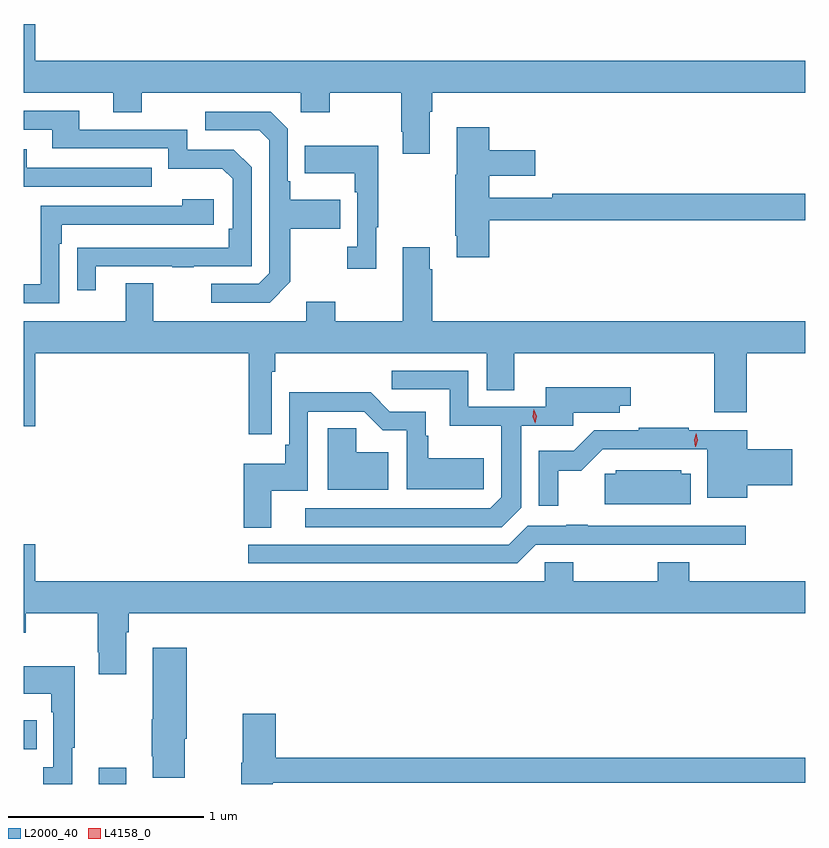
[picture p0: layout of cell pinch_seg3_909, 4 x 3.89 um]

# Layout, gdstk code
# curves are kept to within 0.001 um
import gdstk
lib = gdstk.Library(unit=1e-6, precision=1e-09)
def R(c, l, rs):  # rectangles x0, y0, x1, y1
    for r in rs: c.add(gdstk.rectangle(r[:2], r[2:], *l))
def P(c, l, *ps):  # polygons
    for p in ps: c.add(gdstk.Polygon(p, *l))
L2000_40 = (2000, 40)
L4158_0 = (4158, 0)

pinch_seg3_909 = lib.new_cell('pinch_seg3_909')
R(pinch_seg3_909, L2000_40, [(776.885,672.071,777.025,672.154), (776.5,672.25,776.567,672.397)])
P(pinch_seg3_909, L2000_40, [(778.579,675.512),(778.592,675.512),(778.592,675.608),(780.5,675.608),(780.5,675.772),(776.56,675.772),(776.56,675.961),(776.5,675.961),(776.5,675.608),(776.957,675.608),(776.957,675.509),(777.105,675.509),(777.105,675.608),(777.918,675.608),(777.918,675.509),(778.065,675.509),(778.065,675.608),(778.432,675.608),(778.432,675.409),(778.439,675.409),(778.439,675.297),(778.579,675.297)],
  [(776.869,674.721),(777.259,674.721),(777.259,674.716),(777.371,674.716),(777.371,674.721),(777.666,674.721),(777.666,675.228),(777.576,675.318),(777.336,675.318),(777.336,675.42),(776.785,675.42),(776.785,675.516),(776.5,675.516),(776.5,675.42),(776.645,675.42),(776.645,675.324),(777.24,675.324),(777.24,675.221),(777.517,675.221),(777.57,675.168),(777.57,674.914),(777.55,674.914),(777.55,674.817),(776.773,674.816),(776.773,674.598),(776.869,674.598)],
  [(777.865,674.641),(777.865,674.914),(778.121,674.914),(778.121,675.061),(777.865,675.061),(777.865,675.157),(777.852,675.157),(777.852,675.426),(777.765,675.513),(777.429,675.513),(777.429,675.417),(777.705,675.417),(777.756,675.366),(777.756,674.685),(777.702,674.631),(777.459,674.631),(777.459,674.535),(777.759,674.535)],
  [(778.883,674.956),(780.5,674.956),(780.5,675.092),(779.206,675.092),(779.206,675.072),(778.883,675.072),(778.883,675.185),(779.119,675.185),(779.119,675.315),(778.883,675.315),(778.883,675.433),(778.715,675.433),(778.715,675.189),(778.708,675.189),(778.708,674.878),(778.715,674.878),(778.715,674.766),(778.883,674.766)],
  [(778.303,674.921),(778.315,674.921),(778.315,675.337),(777.937,675.337),(777.937,675.197),(778.194,675.197),(778.194,675.101),(778.206,675.101),(778.206,674.822),(778.155,674.822),(778.155,674.709),(778.303,674.709)],
  [(777.155,675.225),(776.515,675.225),(776.515,675.319),(776.5,675.319),(776.5,675.129),(777.155,675.129)],
  [(776.682,674.837),(776.695,674.837),(776.695,674.934),(777.472,674.934),(777.472,675.064),(777.311,675.064),(777.311,675.03),(776.586,675.03),(776.586,674.628),(776.5,674.628),(776.5,674.532),(776.682,674.532)],
  [(777.769,674.18),(777.787,674.18),(777.787,674.276),(778.871,674.276),(778.871,674.086),(779.011,674.086),(779.011,674.276),(780.035,674.276),(780.035,673.974),(780.2,673.974),(780.2,674.276),(780.5,674.276),(780.5,674.44),(778.592,674.44),(778.592,674.705),(778.579,674.705),(778.579,674.818),(778.439,674.818),(778.439,674.44),(778.095,674.44),(778.095,674.539),(777.947,674.539),(777.947,674.44),(777.163,674.44),(777.163,674.635),(777.023,674.635),(777.023,674.44),(776.5,674.44),(776.5,673.902),(776.56,673.902),(776.56,674.276),(777.651,674.276),(777.651,673.86),(777.769,673.86)],
  [(779.047,673.486),(779.047,673.905),(779.313,673.905),(779.313,673.97),(779.551,673.97),(779.551,674.007),(779.608,674.007),(779.608,674.103),(779.171,674.103),(779.171,674.001),(778.776,674.001),(778.776,674.187),(778.383,674.187),(778.383,674.092),(778.68,674.092),(778.68,673.904),(778.944,673.904),(778.944,673.539),(778.887,673.482),(777.942,673.482),(777.942,673.386),(778.947,673.386)],
  [(777.766,673.571),(777.954,673.571),(777.954,673.977),(778.242,673.977),(778.338,673.881),(778.461,673.881),(778.461,673.58),(778.854,673.58),(778.854,673.738),(778.57,673.738),(778.57,673.854),(778.557,673.854),(778.557,673.977),(778.374,673.977),(778.277,674.075),(777.858,674.075),(777.858,673.807),(777.838,673.807),(777.838,673.711),(777.626,673.711),(777.626,673.383),(777.766,673.383)],
  [(779.235,673.675),(779.353,673.675),(779.463,673.785),(779.999,673.785),(779.999,673.535),(780.202,673.535),(780.202,673.601),(780.433,673.601),(780.433,673.784),(780.202,673.784),(780.202,673.881),(779.903,673.881),(779.903,673.894),(779.647,673.894),(779.647,673.881),(779.421,673.881),(779.316,673.776),(779.136,673.776),(779.136,673.494),(779.235,673.494)],
  [(778.366,673.768),(778.202,673.768),(778.202,673.891),(778.055,673.891),(778.055,673.577),(778.366,673.577)],
  [(779.914,673.66),(779.865,673.66),(779.865,673.678),(779.529,673.678),(779.529,673.659),(779.475,673.659),(779.475,673.502),(779.914,673.502)],
  [(779.121,673.296),(780.196,673.296),(780.196,673.392),(779.387,673.392),(779.387,673.397),(779.276,673.397),(779.276,673.392),(779.079,673.392),(778.983,673.296),(777.648,673.296),(777.648,673.2),(779.025,673.2)],
  [(777.025,672.848),(777.038,672.848),(777.038,672.944),(780.5,672.944),(780.5,673.108),(779.906,673.108),(779.906,673.207),(779.746,673.207),(779.746,673.108),(779.313,673.108),(779.313,673.206),(779.166,673.206),(779.166,673.108),(776.56,673.108),(776.56,673.297),(776.5,673.297),(776.5,672.845),(776.511,672.845),(776.511,672.944),(776.878,672.944),(776.878,672.745),(776.885,672.745),(776.885,672.633),(777.025,672.633)],
  [(777.324,672.303),(777.334,672.303),(777.334,672.769),(777.161,672.769),(777.161,672.403),(777.154,672.403),(777.154,672.214),(777.161,672.214),(777.161,672.102),(777.324,672.102)],
  [(776.749,672.257),(776.761,672.257),(776.761,672.673),(776.5,672.673),(776.5,672.533),(776.64,672.533),(776.64,672.437),(776.652,672.437),(776.652,672.158),(776.601,672.158),(776.601,672.071),(776.749,672.071)],
  [(777.774,672.078),(780.5,672.078),(780.5,672.206),(777.791,672.206),(777.791,672.43),(777.62,672.43),(777.62,672.181),(777.613,672.181),(777.613,672.071),(777.774,672.071)])
P(pinch_seg3_909, L4158_0, [(779.938,673.796),(779.938,673.796),(779.931,673.832),(779.943,673.866),(779.943,673.866),(779.943,673.866),(779.951,673.83),(779.939,673.796)],
  [(779.118,673.917),(779.105,673.951),(779.111,673.988),(779.111,673.988),(779.111,673.988),(779.125,673.954),(779.119,673.917),(779.119,673.917)])

lib.write_gds('pinch_seg3_909.gds')
